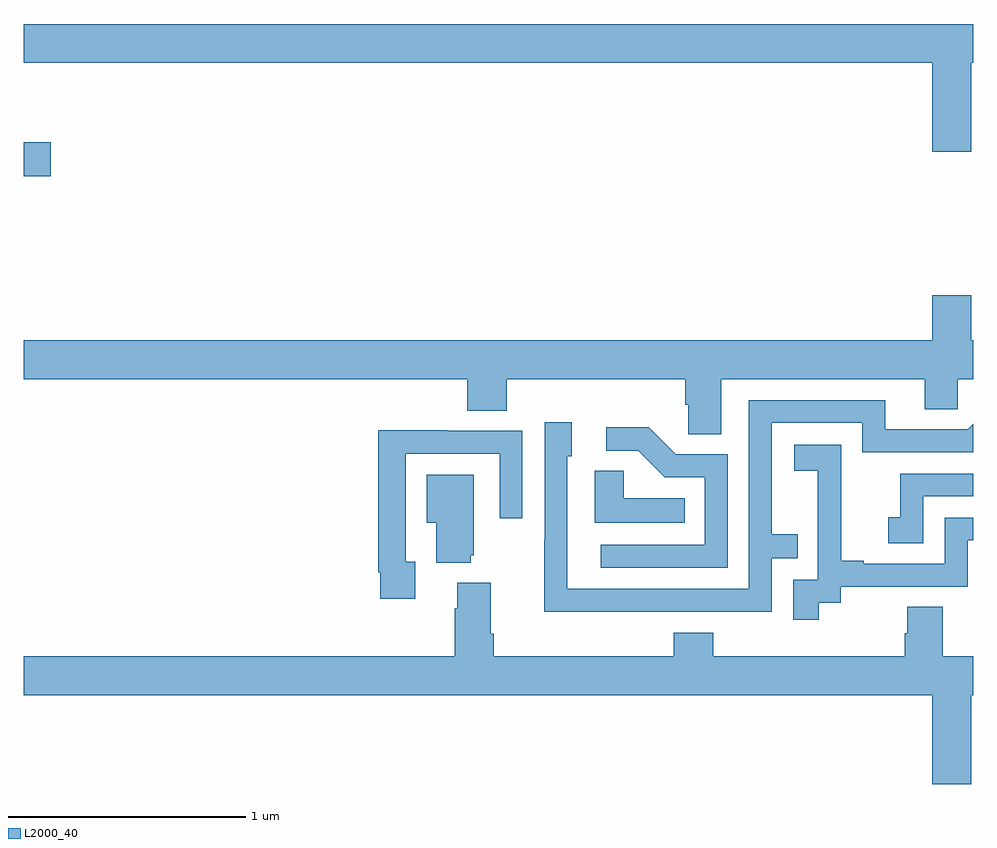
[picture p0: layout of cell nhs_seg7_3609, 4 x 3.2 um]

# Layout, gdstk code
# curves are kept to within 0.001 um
import gdstk
lib = gdstk.Library(unit=1e-6, precision=1e-09)
def R(c, l, rs):  # rectangles x0, y0, x1, y1
    for r in rs: c.add(gdstk.rectangle(r[:2], r[2:], *l))
def P(c, l, *ps):  # polygons
    for p in ps: c.add(gdstk.Polygon(p, *l))
L2000_40 = (2000, 40)

nhs_seg7_3609 = lib.new_cell('nhs_seg7_3609')
R(nhs_seg7_3609, L2000_40, [(341,1046.759,341.113,1046.901)])
P(nhs_seg7_3609, L2000_40, [(344.992,1047.236),(345,1047.236),(345,1047.4),(341,1047.4),(341,1047.236),(344.828,1047.236),(344.828,1046.862),(344.992,1046.862)],
  [(343.939,1045.904),(344.795,1045.904),(344.795,1045.777),(344.934,1045.777),(344.934,1045.904),(345,1045.904),(345,1046.068),(344.992,1046.068),(344.992,1046.257),(344.828,1046.257),(344.828,1046.068),(341,1046.068),(341,1045.904),(342.869,1045.904),(342.869,1045.771),(343.034,1045.771),(343.034,1045.904),(343.787,1045.904),(343.787,1045.795),(343.8,1045.795),(343.8,1045.672),(343.939,1045.672)],
  [(343.655,1044.924),(344.151,1044.924),(344.151,1045.149),(344.261,1045.149),(344.261,1045.25),(344.151,1045.25),(344.151,1045.719),(344.532,1045.719),(344.532,1045.596),(345,1045.596),(345,1045.716),(344.976,1045.692),(344.629,1045.692),(344.629,1045.815),(344.055,1045.815),(344.055,1045.02),(343.29,1045.02),(343.29,1045.578),(343.309,1045.578),(343.309,1045.723),(343.194,1045.723),(343.194,1045.229),(343.192,1045.229),(343.192,1044.923)],
  [(343.965,1045.587),(343.746,1045.587),(343.633,1045.7),(343.455,1045.7),(343.455,1045.602),(343.589,1045.602),(343.7,1045.491),(343.869,1045.491),(343.869,1045.206),(343.431,1045.206),(343.431,1045.11),(343.965,1045.11)],
  [(342.649,1045.134),(342.609,1045.134),(342.609,1045.59),(343.005,1045.59),(343.005,1045.317),(343.101,1045.317),(343.101,1045.686),(342.785,1045.686),(342.785,1045.688),(342.493,1045.688),(342.493,1045.09),(342.501,1045.09),(342.501,1044.978),(342.649,1044.978)],
  [(344.35,1044.961),(344.442,1044.961),(344.442,1045.029),(344.976,1045.029),(344.976,1045.224),(345,1045.224),(345,1045.32),(344.88,1045.32),(344.88,1045.125),(344.539,1045.125),(344.539,1045.138),(344.444,1045.138),(344.444,1045.421),(344.445,1045.421),(344.445,1045.627),(344.247,1045.627),(344.247,1045.517),(344.345,1045.517),(344.345,1045.289),(344.346,1045.289),(344.346,1045.059),(344.241,1045.059),(344.241,1044.891),(344.35,1044.891)],
  [(343.784,1045.402),(343.527,1045.402),(343.527,1045.517),(343.406,1045.517),(343.406,1045.298),(343.784,1045.298)],
  [(344.79,1045.41),(345,1045.41),(345,1045.506),(344.692,1045.506),(344.692,1045.321),(344.643,1045.321),(344.643,1045.212),(344.79,1045.212)],
  [(342.884,1045.161),(342.895,1045.161),(342.895,1045.501),(342.698,1045.501),(342.698,1045.298),(342.737,1045.298),(342.737,1045.13),(342.884,1045.13)],
  [(344.992,1044.572),(345,1044.572),(345,1044.736),(344.871,1044.736),(344.871,1044.944),(344.723,1044.944),(344.723,1044.834),(344.711,1044.834),(344.711,1044.736),(343.904,1044.736),(343.904,1044.835),(343.739,1044.835),(343.739,1044.736),(342.98,1044.736),(342.98,1044.832),(342.967,1044.832),(342.967,1045.045),(342.827,1045.045),(342.827,1044.938),(342.815,1044.938),(342.815,1044.736),(341,1044.736),(341,1044.572),(344.828,1044.572),(344.828,1044.198),(344.992,1044.198)])

lib.write_gds('nhs_seg7_3609.gds')
